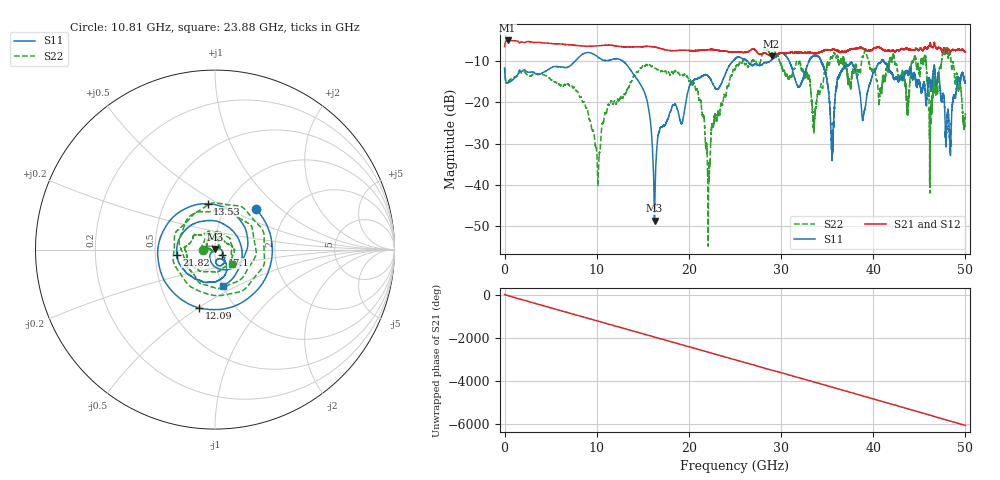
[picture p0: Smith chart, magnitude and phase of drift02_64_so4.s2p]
!Created with skrf (http://scikit-rf.org).
# Hz S RI R 50.0
!freq ReS11 ImS11 ReS21 ImS21 ReS12 ImS12 ReS22 ImS22
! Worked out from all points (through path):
!   10001 points, 300 kHz to 50 GHz, reference 50 ohm
!   highest |S21| = -5.04 dB at 325.3 MHz (marker M1); lowest = -8.9 dB at 28.98 GHz (marker M2)
!   group delay of S21, straight-line fit = 336 ps
!   lowest |S11| = -48.7 dB at 16.27 GHz (marker M3), VSWR 1.01, Z = 49.9 + j0.354 ohm
!   |S11| at or under -10 dB: start of sweep to 7.667 GHz; 12.82 GHz to 24.78 GHz (11.96 GHz wide, 63.6 % of centre); 41.13 GHz to end of sweep (the widest 3 of 9)
!   |S22| runs from -54.9 to -6.7 dB; largest |S21 - S12| = 0.032
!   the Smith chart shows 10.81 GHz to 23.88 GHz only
!   S11 on the Smith chart (normalised r, x): 10.81 GHz: 1.38, +0.70; 12.09 GHz: 0.69, -0.51; 13.53 GHz: 0.81, +0.45; 17.1 GHz: 1.09, -0.06; 21.82 GHz: 0.65, -0.04; 23.88 GHz: 1.00, -0.42
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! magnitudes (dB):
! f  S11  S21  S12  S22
! 300 kHz  -11.7  -6.5  -6.5  -11.6
! 325.3 MHz  -15.3  -5.0  -5.0  -15.1
! 8.335 GHz  -8.6  -6.4  -6.4  -19.1
! 10.11 GHz  -9.0  -6.3  -6.3  -39.0
! 10.81 GHz  -9.9  -6.2  -6.2  -23.6
! 12.09 GHz  -9.5  -6.4  -6.4  -20.4
! 13.53 GHz  -11.7  -6.6  -6.6  -16.1
! 16.27 GHz  -48.7  -6.6  -6.6  -11.7
! 16.67 GHz  -27.9  -6.8  -6.8  -12.1
! 17.1 GHz  -25.9  -7.1  -7.1  -12.4
! 21.82 GHz  -13.3  -7.4  -7.4  -30.3
! 23.88 GHz  -13.7  -7.6  -7.6  -18.3
! 25 GHz  -9.6  -7.8  -7.9  -12.0
! 28.98 GHz  -9.8  -8.9  -8.9  -8.0
! 33.34 GHz  -9.1  -8.0  -8.0  -19.7
! 35.54 GHz  -34.2  -7.3  -7.3  -9.0
! 36.79 GHz  -11.7  -7.9  -8.1  -9.3
! 41.67 GHz  -11.9  -7.4  -7.5  -12.0
! 45.49 GHz  -15.5  -7.1  -7.0  -9.6
! 46.26 GHz  -16.5  -6.2  -6.2  -21.6
! 48.13 GHz  -21.8  -7.2  -7.1  -9.2
! 50 GHz  -15.4  -7.9  -7.9  -23.3
